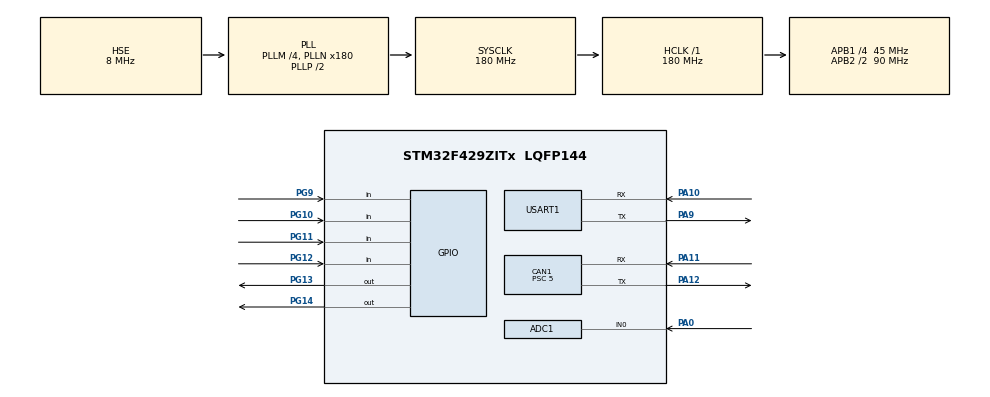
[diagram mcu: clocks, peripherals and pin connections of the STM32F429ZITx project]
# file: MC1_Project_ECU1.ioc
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ADC1.Channel-0\#ChannelRegularConversion=ADC_CHANNEL_0
ADC1.ContinuousConvMode=ENABLE
ADC1.NbrOfConversionFlag=1
ADC1.Rank-0\#ChannelRegularConversion=1
ADC1.SamplingTime-0\#ChannelRegularConversion=ADC_SAMPLETIME_3CYCLES
ADC1.master=1
CAN1.BS1=CAN_BS1_9TQ
CAN1.BS2=CAN_BS2_8TQ
CAN1.CalculateBaudRate=500000
CAN1.CalculateTimeBit=2000
CAN1.CalculateTimeQuantum=111.11111111111111
CAN1.NART=ENABLE
CAN1.Prescaler=5
Mcu.Family=STM32F4
Mcu.Name=STM32F429ZITx
Mcu.Package=LQFP144
NVIC.ADC_IRQn=true\:0\:0\:false\:false\:true\:true\:true\:true
NVIC.PriorityGroup=NVIC_PRIORITYGROUP_4
NVIC.TIM3_IRQn=true\:0\:0\:false\:false\:true\:true\:true\:true
NVIC.USART1_IRQn=true\:0\:0\:false\:false\:true\:true\:true\:true
PA0/WKUP.Signal=ADCx_IN0
PA10.Mode=Asynchronous
PA10.Signal=USART1_RX
PA11.Mode=CAN_Activate
PA11.Signal=CAN1_RX
PA12.Mode=CAN_Activate
PA12.Signal=CAN1_TX
PA9.Mode=Asynchronous
PA9.Signal=USART1_TX
PG10.Signal=GPIO_Input
PG11.Signal=GPIO_Input
PG12.Signal=GPIO_Input
PG13.Signal=GPIO_Output
PG14.Signal=GPIO_Output
PG9.Signal=GPIO_Input
PH0/OSC_IN.Mode=HSE-External-Oscillator
PH0/OSC_IN.Signal=RCC_OSC_IN
PH1/OSC_OUT.Mode=HSE-External-Oscillator
PH1/OSC_OUT.Signal=RCC_OSC_OUT
ProjectManager.HeapSize=0x200
ProjectManager.StackSize=0x400
ProjectManager.TargetToolchain=STM32CubeIDE
RCC.48MHZClocksFreq_Value=90000000
RCC.AHBFreq_Value=180000000
RCC.APB1CLKDivider=RCC_HCLK_DIV4
RCC.APB1Freq_Value=45000000
RCC.APB1TimFreq_Value=90000000
RCC.APB2CLKDivider=RCC_HCLK_DIV2
RCC.APB2Freq_Value=90000000
RCC.APB2TimFreq_Value=180000000
RCC.CortexFreq_Value=180000000
RCC.HCLKFreq_Value=180000000
RCC.HSE_VALUE=8000000
RCC.HSI_VALUE=16000000
RCC.LSE_VALUE=32768
RCC.PLLM=4
RCC.PLLN=180
RCC.PLLSourceVirtual=RCC_PLLSOURCE_HSE
RCC.SYSCLKFreq_VALUE=180000000
RCC.SYSCLKSource=RCC_SYSCLKSOURCE_PLLCLK
RCC.VCOOutputFreq_Value=360000000
SH.ADCx_IN0.0=ADC1_IN0,IN0
TIM3.Period=9000-1
TIM3.Prescaler=10000-1
USART1.VirtualMode=VM_ASYNC
VP_TIM3_VS_ClockSourceINT.Mode=Internal
board=custom

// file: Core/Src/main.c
/* USER CODE BEGIN Header */
/**
 ******************************************************************************
 * @file           : main.c
 * @brief          : Main program body
 ******************************************************************************
 * @attention
 *
 * Copyright (c) 2026 STMicroelectronics.
 * All rights reserved.
 *
 * This software is licensed under terms that can be found in the LICENSE file
 * in the root directory of this software component.
 * If no LICENSE file comes with this software, it is provided AS-IS.
 *
 ******************************************************************************
 */
/* USER CODE END Header */
#include "main.h"

/* USER CODE BEGIN Includes */
#include "dht11.h"
#include<stdio.h>
#include <string.h>
/* USER CODE END Includes */

ADC_HandleTypeDef hadc1;

CAN_HandleTypeDef hcan1;

TIM_HandleTypeDef htim3;

UART_HandleTypeDef huart1;

void SystemClock_Config(void);
static void MX_GPIO_Init(void);
static void MX_ADC1_Init(void);
static void MX_CAN1_Init(void);
static void MX_USART1_UART_Init(void);
static void MX_TIM3_Init(void);

/* USER CODE BEGIN 0 */
#define temp_id  0x100
#define speed_id 0x200
#define ind_id 0x300

#define LEVEL  0
#define STATE  1
uint8_t key, flag, tim_flag;
unsigned long delay = 0;
uint8_t adc_value;
char ind[50];    //uart
uint8_t ind_can;
DHT11_Data_t data;
unsigned char read_digital_keypad(unsigned char detection_type) {
	static uint8_t pin1 = 1, pin2 = 1, pin3 = 1, once1 = 1, once2 = 1,
			once3 = 1;
	pin1 = HAL_GPIO_ReadPin(GPIOG, GPIO_PIN_9);
	pin2 = HAL_GPIO_ReadPin(GPIOG, GPIO_PIN_10);
	pin3 = HAL_GPIO_ReadPin(GPIOG, GPIO_PIN_11);
	if (detection_type == LEVEL) {
		if (pin1 == 0)
			return 1;
		else if (pin2 == 0)
			return 2;
		else if (pin3 == 0)
			return 3;
		else
			return 0;
	} else if (detection_type == STATE) {
		if (pin1 == 0 && once1) {
			once1 = 0;
			return 1;
		} else if (pin1 == 1)
			once1 = 1;
		if (pin2 == 0 && once2) {
			once2 = 0;
			return 2;
		} else if (pin2 == 1)
			once2 = 1;
		if (pin3 == 0 && once3) {
			once3 = 0;
			return 3;
		} else if (pin3 == 1)
			once3 = 1;
		else
			return 0;
	}
}
void indicator() {
	key = read_digital_keypad(STATE);
	if (key == 1) // for switch 1 for right indicator
			{
		if (flag == 1)
			flag = 0;
		else
			flag = 1;
	} else if (key == 2) // for switch 2 for left indicator
			{
		if (flag == 2)
			flag = 0;
		else
			flag = 2;
	} else if (key == 3) // for switch 3 for no indicator
			{
		flag = 0;
	}
	if (flag == 1) {
		ind_can = 'R';
		sprintf(ind, "Right indicator\r\n");
		if (delay++ == 500) {
			delay = 0;
			HAL_GPIO_TogglePin(GPIOD, GPIO_PIN_0);
		}
	} else if (flag == 2) {
		ind_can = 'L';
		sprintf(ind, "left indicator\r\n");
		if (delay++ == 500) {
			delay = 0;
			HAL_GPIO_TogglePin(GPIOD, GPIO_PIN_1);
		}
	} else if (flag == 0) {
		ind_can = 'N';
		sprintf(ind, "NO indicator\r\n");
		HAL_GPIO_WritePin(GPIOD, GPIO_PIN_0, 0);
		HAL_GPIO_WritePin(GPIOD, GPIO_PIN_1, 0);
	}
	ind_can = 'R';
//	}
}
CAN_TxHeaderTypeDef TxHeader;
uint32_t TxMailbox;
uint8_t TxData[8], RxData[8];
uint8_t count;
void can_transmitter(uint16_t id, uint8_t *data, uint8_t size) {
	TxHeader.StdId = id;
	TxHeader.IDE = CAN_ID_STD; //use standard ID
	TxHeader.RTR = CAN_RTR_DATA; //sending data
	TxHeader.DLC = size;  //Length is 1 byte
	for (int i = 0; i < size; i++)
		TxData[i] = data[i];
	if(HAL_CAN_AddTxMessage(&hcan1, &TxHeader, TxData, &TxMailbox)==HAL_OK)
		HAL_GPIO_WritePin(GPIOG, GPIO_PIN_14,0);
	else
		HAL_GPIO_WritePin(GPIOG, GPIO_PIN_14,1);
}
/* USER CODE END 0 */

int main(void)
{

  /* MCU Configuration--------------------------------------------------------*/

  /* Reset of all peripherals, Initializes the Flash interface and the Systick. */
  HAL_Init();

  /* Configure the system clock */
  SystemClock_Config();

  /* Initialize all configured peripherals */
  MX_GPIO_Init();
  MX_ADC1_Init();
  MX_CAN1_Init();
  MX_USART1_UART_Init();
  MX_TIM3_Init();
  /* USER CODE BEGIN 2 */
	DWT_Delay_Init();
  /* USER CODE END 2 */

  /* Infinite loop */
  /* USER CODE BEGIN WHILE */

	char temp[20];
	char speed[20];
	HAL_TIM_Base_Start_IT(&htim3);
	HAL_ADC_Start_IT(&hadc1);

	HAL_Delay(10);

	if (HAL_CAN_Start(&hcan1) == HAL_OK)
		HAL_GPIO_WritePin(GPIOG, GPIO_PIN_14, 0);
	else
		HAL_GPIO_WritePin(GPIOG, GPIO_PIN_14, 1);
	while (1) {
    /* USER CODE END WHILE */

    /* USER CODE BEGIN 3 */
		indicator(); //call the indicator
		//for temperature
		sprintf(temp, "Temp : %02d\r\n", data.temperature);
		//for speed
		sprintf(speed, "Speed : %02d\r\n", adc_value);
		//printing through UART

		HAL_UART_Transmit(&huart1, (uint8_t*) ind, (uint16_t) strlen(ind),
		HAL_MAX_DELAY);
		HAL_UART_Transmit(&huart1, (uint8_t*) temp, (uint16_t) strlen(temp),
		HAL_MAX_DELAY);
		HAL_UART_Transmit(&huart1, (uint8_t*) speed, (uint16_t) strlen(speed),
		HAL_MAX_DELAY);

		if (tim_flag) {
			tim_flag = 0;
			HAL_GPIO_TogglePin(GPIOG, GPIO_PIN_13);
			//can transmit
			can_transmitter(ind_id, &ind_can, 1);
			can_transmitter(speed_id, &adc_value, 1);
			can_transmitter(temp_id, &data.temperature, 1);
		}
	}
  /* USER CODE END 3 */
}

void SystemClock_Config(void)
{
  RCC_OscInitTypeDef RCC_OscInitStruct = {0};
  RCC_ClkInitTypeDef RCC_ClkInitStruct = {0};

  /** Configure the main internal regulator output voltage
  */
  __HAL_RCC_PWR_CLK_ENABLE();
  __HAL_PWR_VOLTAGESCALING_CONFIG(PWR_REGULATOR_VOLTAGE_SCALE1);

  /** Initializes the RCC Oscillators according to the specified parameters
  * in the RCC_OscInitTypeDef structure.
  */
  RCC_OscInitStruct.OscillatorType = RCC_OSCILLATORTYPE_HSE;
  RCC_OscInitStruct.HSEState = RCC_HSE_ON;
  RCC_OscInitStruct.PLL.PLLState = RCC_PLL_ON;
  RCC_OscInitStruct.PLL.PLLSource = RCC_PLLSOURCE_HSE;
  RCC_OscInitStruct.PLL.PLLM = 4;
  RCC_OscInitStruct.PLL.PLLN = 180;
  RCC_OscInitStruct.PLL.PLLP = RCC_PLLP_DIV2;
  RCC_OscInitStruct.PLL.PLLQ = 4;
  if (HAL_RCC_OscConfig(&RCC_OscInitStruct) != HAL_OK)
  {
    Error_Handler();
  }

  /** Activate the Over-Drive mode
  */
  if (HAL_PWREx_EnableOverDrive() != HAL_OK)
  {
    Error_Handler();
  }

  /** Initializes the CPU, AHB and APB buses clocks
  */
  RCC_ClkInitStruct.ClockType = RCC_CLOCKTYPE_HCLK|RCC_CLOCKTYPE_SYSCLK
                              |RCC_CLOCKTYPE_PCLK1|RCC_CLOCKTYPE_PCLK2;
  RCC_ClkInitStruct.SYSCLKSource = RCC_SYSCLKSOURCE_PLLCLK;
  RCC_ClkInitStruct.AHBCLKDivider = RCC_SYSCLK_DIV1;
  RCC_ClkInitStruct.APB1CLKDivider = RCC_HCLK_DIV4;
  RCC_ClkInitStruct.APB2CLKDivider = RCC_HCLK_DIV2;

  if (HAL_RCC_ClockConfig(&RCC_ClkInitStruct, FLASH_LATENCY_5) != HAL_OK)
  {
    Error_Handler();
  }
}

static void MX_ADC1_Init(void)
{

  ADC_ChannelConfTypeDef sConfig = {0};

  /** Configure the global features of the ADC (Clock, Resolution, Data Alignment and number of conversion)
  */
  hadc1.Instance = ADC1;
  hadc1.Init.ClockPrescaler = ADC_CLOCK_SYNC_PCLK_DIV4;
  hadc1.Init.Resolution = ADC_RESOLUTION_12B;
  hadc1.Init.ScanConvMode = DISABLE;
  hadc1.Init.ContinuousConvMode = ENABLE;
  hadc1.Init.DiscontinuousConvMode = DISABLE;
  hadc1.Init.ExternalTrigConvEdge = ADC_EXTERNALTRIGCONVEDGE_NONE;
  hadc1.Init.ExternalTrigConv = ADC_SOFTWARE_START;
  hadc1.Init.DataAlign = ADC_DATAALIGN_RIGHT;
  hadc1.Init.NbrOfConversion = 1;
  hadc1.Init.DMAContinuousRequests = DISABLE;
  hadc1.Init.EOCSelection = ADC_EOC_SINGLE_CONV;
  if (HAL_ADC_Init(&hadc1) != HAL_OK)
  {
    Error_Handler();
  }

  /** Configure for the selected ADC regular channel its corresponding rank in the sequencer and its sample time.
  */
  sConfig.Channel = ADC_CHANNEL_0;
  sConfig.Rank = 1;
  sConfig.SamplingTime = ADC_SAMPLETIME_3CYCLES;
  if (HAL_ADC_ConfigChannel(&hadc1, &sConfig) != HAL_OK)
  {
    Error_Handler();
  }

}

static void MX_CAN1_Init(void)
{

  hcan1.Instance = CAN1;
  hcan1.Init.Prescaler = 5;
  hcan1.Init.Mode = CAN_MODE_NORMAL;
  hcan1.Init.SyncJumpWidth = CAN_SJW_1TQ;
  hcan1.Init.TimeSeg1 = CAN_BS1_9TQ;
  hcan1.Init.TimeSeg2 = CAN_BS2_8TQ;
  hcan1.Init.TimeTriggeredMode = DISABLE;
  hcan1.Init.AutoBusOff = DISABLE;
  hcan1.Init.AutoWakeUp = DISABLE;
  hcan1.Init.AutoRetransmission = ENABLE;
  hcan1.Init.ReceiveFifoLocked = DISABLE;
  hcan1.Init.TransmitFifoPriority = DISABLE;
  if (HAL_CAN_Init(&hcan1) != HAL_OK)
  {
    Error_Handler();
  }
  /* USER CODE BEGIN CAN1_Init 2 */
	CAN_FilterTypeDef sFilterConfig;

	sFilterConfig.FilterActivation = ENABLE;
	sFilterConfig.FilterBank = 0;
	sFilterConfig.FilterFIFOAssignment = CAN_FILTER_FIFO0;

	// For a 32-bit filter to accept StdId 0x103:
	// The StdId occupies bits [31:21] of the 32-bit register.
	sFilterConfig.FilterIdHigh = 0x0000;
	sFilterConfig.FilterIdLow = 0x0000;

	// To accept ONLY 0x103, set mask to all 1s in those positions (0x7FF << 5)
	// To accept EVERYTHING for testing, set mask to 0
	sFilterConfig.FilterMaskIdHigh = 0x0000;
	sFilterConfig.FilterMaskIdLow = 0x0000;

	sFilterConfig.FilterMode = CAN_FILTERMODE_IDMASK;
	sFilterConfig.FilterScale = CAN_FILTERSCALE_32BIT;
	sFilterConfig.SlaveStartFilterBank = 14;

	if (HAL_CAN_ConfigFilter(&hcan1, &sFilterConfig) != HAL_OK) {
		Error_Handler();
	}
  /* USER CODE END CAN1_Init 2 */

}

static void MX_TIM3_Init(void)
{

  TIM_ClockConfigTypeDef sClockSourceConfig = {0};
  TIM_MasterConfigTypeDef sMasterConfig = {0};

  htim3.Instance = TIM3;
  htim3.Init.Prescaler = 10000-1;
  htim3.Init.CounterMode = TIM_COUNTERMODE_UP;
  htim3.Init.Period = 9000-1;
  htim3.Init.ClockDivision = TIM_CLOCKDIVISION_DIV1;
  htim3.Init.AutoReloadPreload = TIM_AUTORELOAD_PRELOAD_DISABLE;
  if (HAL_TIM_Base_Init(&htim3) != HAL_OK)
  {
    Error_Handler();
  }
  sClockSourceConfig.ClockSource = TIM_CLOCKSOURCE_INTERNAL;
  if (HAL_TIM_ConfigClockSource(&htim3, &sClockSourceConfig) != HAL_OK)
  {
    Error_Handler();
  }
  sMasterConfig.MasterOutputTrigger = TIM_TRGO_RESET;
  sMasterConfig.MasterSlaveMode = TIM_MASTERSLAVEMODE_DISABLE;
  if (HAL_TIMEx_MasterConfigSynchronization(&htim3, &sMasterConfig) != HAL_OK)
  {
    Error_Handler();
  }

}

static void MX_USART1_UART_Init(void)
{

  huart1.Instance = USART1;
  huart1.Init.BaudRate = 115200;
  huart1.Init.WordLength = UART_WORDLENGTH_8B;
  huart1.Init.StopBits = UART_STOPBITS_1;
  huart1.Init.Parity = UART_PARITY_NONE;
  huart1.Init.Mode = UART_MODE_TX_RX;
  huart1.Init.HwFlowCtl = UART_HWCONTROL_NONE;
  huart1.Init.OverSampling = UART_OVERSAMPLING_16;
  if (HAL_UART_Init(&huart1) != HAL_OK)
  {
    Error_Handler();
  }

}

static void MX_GPIO_Init(void)
{
  GPIO_InitTypeDef GPIO_InitStruct = {0};

  /* GPIO Ports Clock Enable */
  __HAL_RCC_GPIOH_CLK_ENABLE();
  __HAL_RCC_GPIOA_CLK_ENABLE();
  __HAL_RCC_GPIOG_CLK_ENABLE();

  /*Configure GPIO pin Output Level */
  HAL_GPIO_WritePin(GPIOG, GPIO_PIN_13|GPIO_PIN_14, GPIO_PIN_RESET);

  /*Configure GPIO pins : PG9 PG10 PG11 PG12 */
  GPIO_InitStruct.Pin = GPIO_PIN_9|GPIO_PIN_10|GPIO_PIN_11|GPIO_PIN_12;
  GPIO_InitStruct.Mode = GPIO_MODE_INPUT;
  GPIO_InitStruct.Pull = GPIO_NOPULL;
  HAL_GPIO_Init(GPIOG, &GPIO_InitStruct);

  /*Configure GPIO pins : PG13 PG14 */
  GPIO_InitStruct.Pin = GPIO_PIN_13|GPIO_PIN_14;
  GPIO_InitStruct.Mode = GPIO_MODE_OUTPUT_PP;
  GPIO_InitStruct.Pull = GPIO_NOPULL;
  GPIO_InitStruct.Speed = GPIO_SPEED_FREQ_LOW;
  HAL_GPIO_Init(GPIOG, &GPIO_InitStruct);

}

void Error_Handler(void)
{
	__disable_irq();
	while (1) {
	}
}
